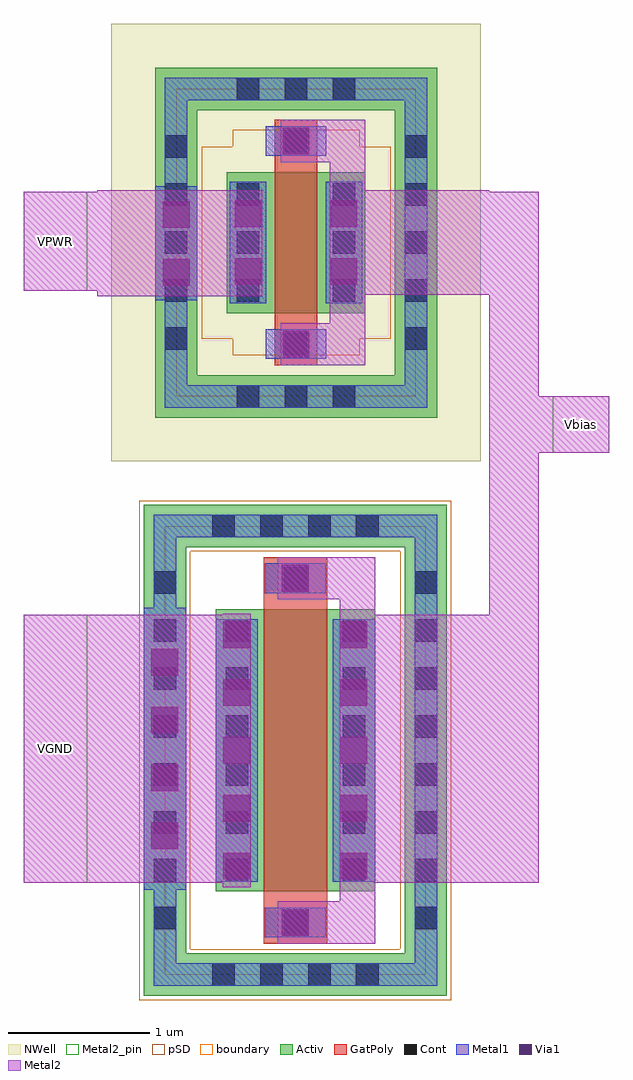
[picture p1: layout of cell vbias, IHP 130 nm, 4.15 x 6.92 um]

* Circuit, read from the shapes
.subckt vbias VGND VPWR
XM1 sg13_lv_nmos_WZWL4E_0/G sg13_lv_nmos_WZWL4E_0/G VGND VGND sg13_lv_nmos w=2u l=0.45u
XM2 sg13_lv_nmos_WZWL4E_0/G sg13_lv_nmos_WZWL4E_0/G VPWR VPWR sg13_lv_pmos w=1u l=0.3u
.ends

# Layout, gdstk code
import gdstk
lib = gdstk.Library(unit=1e-6, precision=1e-09)
def R(c, l, rs):  # rectangles x0, y0, x1, y1
    for r in rs: c.add(gdstk.rectangle(r[:2], r[2:], *l))
def A(c, l, x, y, w, h, nx, ny, dx, dy):  # array of equal rectangles
    R(c, l, [(x+i*dx, y+j*dy, x+i*dx+w, y+j*dy+h) for i in range(nx) for j in range(ny)])
Activ = (1, 0)
GatPoly = (5, 0)
Cont = (6, 0)
Metal1 = (8, 0)
Metal2 = (10, 0)
Metal2_pin = (10, 2)
pSD = (14, 0)
Via1 = (19, 0)
NWell = (31, 0)
boundary = (189, 4)

sg13_lv_nmos_wzwl4e = lib.new_cell('sg13_lv_nmos_WZWL4E')
R(sg13_lv_nmos_wzwl4e, Activ, [(-1.075,-1.74,1.075,-1.44), (-1.075,-1.44,-0.775,1.44), (0.775,-1.44,1.075,1.44), (-0.565,-1,0.565,1), (-1.075,1.44,1.075,1.74)])
R(sg13_lv_nmos_wzwl4e, GatPoly, [(-0.225,-1.37,0.225,1.37)])
A(sg13_lv_nmos_wzwl4e, Cont, -0.59, -1.67, 0.16, 0.16, 4, 2, 0.34, 3.18)
A(sg13_lv_nmos_wzwl4e, Cont, -1.005, -1.27, 0.16, 0.16, 1, 8, 0, 0.34)
A(sg13_lv_nmos_wzwl4e, Cont, 0.845, -1.27, 0.16, 0.16, 1, 8, 0, 0.34)
A(sg13_lv_nmos_wzwl4e, Cont, -0.495, -0.93, 0.16, 0.16, 1, 6, 0, 0.34)
A(sg13_lv_nmos_wzwl4e, Cont, 0.335, -0.93, 0.16, 0.16, 1, 6, 0, 0.34)
R(sg13_lv_nmos_wzwl4e, Cont, [(-0.08,-1.3,0.08,-1.14), (-0.08,1.14,0.08,1.3)])
R(sg13_lv_nmos_wzwl4e, Metal1, [(-1.005,-1.67,1.005,-1.51), (-1.005,-1.51,-0.845,1.51), (0.845,-1.51,1.005,1.51), (-0.215,-1.325,0.215,-1.115), (-0.565,-0.93,-0.265,0.93), (0.265,-0.93,0.565,0.93), (-0.215,1.115,0.215,1.325), (-1.005,1.51,1.005,1.67)])
R(sg13_lv_nmos_wzwl4e, Metal2, [(-0.115,-1.365,0.115,-1.075), (-0.515,-0.97,-0.315,0.97), (0.315,-0.97,0.515,0.97), (-0.115,1.075,0.115,1.365)])
R(sg13_lv_nmos_wzwl4e, pSD, [(-1.105,-1.77,1.105,-1.41), (-1.105,-1.41,-0.745,1.41), (0.745,-1.41,1.105,1.41), (-1.105,1.41,1.105,1.77)])
A(sg13_lv_nmos_wzwl4e, Via1, -0.51, -0.915, 0.19, 0.19, 1, 5, 0, 0.41)
A(sg13_lv_nmos_wzwl4e, Via1, 0.32, -0.915, 0.19, 0.19, 1, 5, 0, 0.41)
R(sg13_lv_nmos_wzwl4e, Via1, [(-0.095,-1.315,0.095,-1.125), (-0.095,1.125,0.095,1.315)])
R(sg13_lv_nmos_wzwl4e, boundary, [(-0.925,-1.59,0.925,1.59)])
sg13_lv_nmos_wzwl4e.add(gdstk.Label('G', (0,1.22), layer=8, texttype=25))
sg13_lv_nmos_wzwl4e.add(gdstk.Label('S', (0.415,0), layer=8, texttype=25))
sg13_lv_nmos_wzwl4e.add(gdstk.Label('D', (-0.415,0), layer=8, texttype=25))
sg13_lv_nmos_wzwl4e.add(gdstk.Label('B', (0,-1.59), layer=8, texttype=25))

sg13_lv_pmos_p4fhlc = lib.new_cell('sg13_lv_pmos_P4FHLC')
R(sg13_lv_pmos_p4fhlc, Activ, [(-1,-1.24,1,-0.94), (-1,-0.94,-0.7,0.94), (0.7,-0.94,1,0.94), (-0.49,-0.5,0.49,0.5), (-1,0.94,1,1.24)])
R(sg13_lv_pmos_p4fhlc, GatPoly, [(-0.15,-0.87,0.15,0.87)])
A(sg13_lv_pmos_p4fhlc, Cont, -0.42, -1.17, 0.16, 0.16, 3, 2, 0.34, 2.18)
A(sg13_lv_pmos_p4fhlc, Cont, -0.93, -0.76, 0.16, 0.16, 1, 5, 0, 0.34)
A(sg13_lv_pmos_p4fhlc, Cont, 0.77, -0.76, 0.16, 0.16, 1, 5, 0, 0.34)
A(sg13_lv_pmos_p4fhlc, Cont, -0.42, -0.42, 0.16, 0.16, 1, 3, 0, 0.34)
A(sg13_lv_pmos_p4fhlc, Cont, 0.26, -0.42, 0.16, 0.16, 1, 3, 0, 0.34)
R(sg13_lv_pmos_p4fhlc, Cont, [(-0.08,-0.8,0.08,-0.64), (-0.08,0.64,0.08,0.8)])
R(sg13_lv_pmos_p4fhlc, Metal1, [(-0.93,-1.17,0.93,-1.01), (-0.93,-1.01,-0.77,1.01), (0.77,-1.01,0.93,1.01), (-0.215,-0.825,0.215,-0.615), (-0.47,-0.43,-0.21,0.43), (0.21,-0.43,0.47,0.43), (-0.215,0.615,0.215,0.825), (-0.93,1.01,0.93,1.17)])
R(sg13_lv_pmos_p4fhlc, Metal2, [(-0.1,-0.865,0.1,-0.575), (-0.44,-0.365,-0.24,0.365), (0.24,-0.365,0.44,0.365), (-0.1,0.575,0.1,0.865)])
R(sg13_lv_pmos_p4fhlc, pSD, [(-0.45,-0.8,0.45,-0.68), (-0.67,-0.68,0.67,0.68), (-0.45,0.68,0.45,0.8)])
R(sg13_lv_pmos_p4fhlc, Via1, [(-0.095,-0.815,0.095,-0.625), (-0.435,-0.3,-0.245,-0.11), (0.245,-0.3,0.435,-0.11), (-0.435,0.11,-0.245,0.3), (0.245,0.11,0.435,0.3), (-0.095,0.625,0.095,0.815)])
R(sg13_lv_pmos_p4fhlc, NWell, [(-1.31,-1.55,1.31,1.55)])
R(sg13_lv_pmos_p4fhlc, boundary, [(-0.85,-1.09,0.85,1.09)])
sg13_lv_pmos_p4fhlc.add(gdstk.Label('G', (0,0.72), layer=8, texttype=25))
sg13_lv_pmos_p4fhlc.add(gdstk.Label('S', (0.34,0), layer=8, texttype=25))
sg13_lv_pmos_p4fhlc.add(gdstk.Label('D', (-0.34,0), layer=8, texttype=25))
sg13_lv_pmos_p4fhlc.add(gdstk.Label('B', (0,-1.09), layer=8, texttype=25))

vbias = lib.new_cell('vbias')
R(vbias, Metal1, [(-0.15,0.6,0.15,2.6), (-0.07,4.78,0.23,5.59)])
R(vbias, Metal2, [(0.8,0.22,1.49,0.52), (1.24,0.52,1.49,0.65), (-1,0.65,0.6,2.55), (1.24,0.65,2.65,0.76), (1.25,0.76,2.65,2.44), (1.24,2.44,2.65,2.55), (1.24,2.55,1.49,2.66), (2.3,2.55,2.65,3.7), (0.8,2.66,1.49,2.96), (2.3,3.7,3.15,4.1), (2.3,4.1,2.65,4.82), (0.82,4.32,1.42,4.62), (1.17,4.62,1.42,4.82), (-0.48,4.81,0.69,4.85), (1.17,4.82,2.65,5.55), (-1,4.85,0.69,5.55), (-0.48,5.55,0.69,5.56), (1.17,5.55,2.3,5.56), (1.17,5.56,1.42,5.76), (0.82,5.76,1.42,6.06)])
R(vbias, Metal2_pin, [(-1,0.65,-0.55,2.55), (2.75,3.7,3.15,4.1), (-1,4.85,-0.55,5.55)])
A(vbias, Via1, -0.095, 0.89, 0.19, 0.19, 1, 4, 0, 0.41)
R(vbias, Via1, [(-0.015,4.885,0.175,5.075), (-0.015,5.295,0.175,5.485)])
R(vbias, NWell, [(1.17,5.54,1.42,5.81)])
vbias.add(gdstk.Reference(sg13_lv_nmos_wzwl4e, (0.925,1.59)))
vbias.add(gdstk.Reference(sg13_lv_pmos_p4fhlc, (0.93,5.19)))
vbias.add(gdstk.Label('VPWR', (-0.775,5.2), layer=10, texttype=25))
vbias.add(gdstk.Label('VGND', (-0.775,1.6), layer=10, texttype=25))
vbias.add(gdstk.Label('Vbias', (2.95,3.9), layer=10, texttype=25))

lib.write_gds('vbias.gds')
